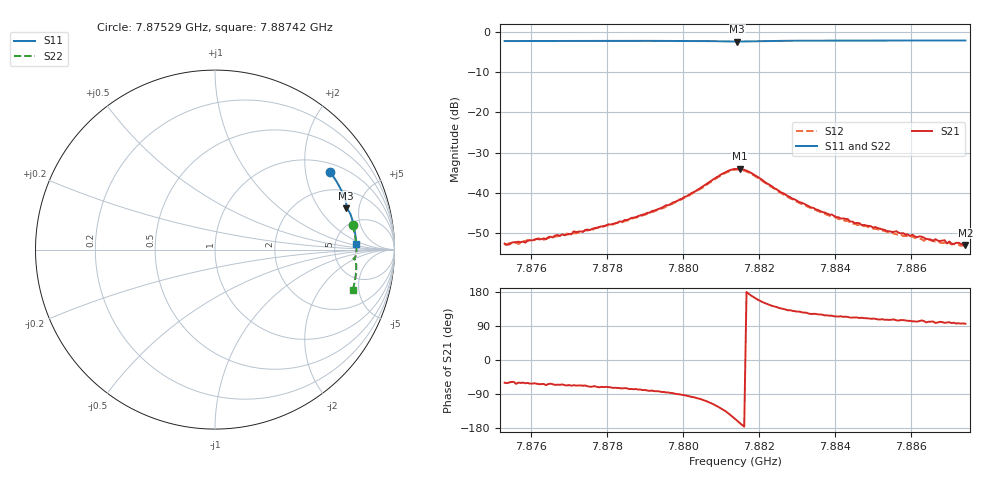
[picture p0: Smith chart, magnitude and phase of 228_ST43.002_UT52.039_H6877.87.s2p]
#  HZ  S  DB  R  50.00
! Rohde & Schwarz Vector Network Analyzer
! Rohde-Schwarz,ZNB20-2Port,1311601062101988,3.16
! Created: UTC 1/12/2023, 6:46:23 PM
! freq[Hz]  db:S11  ang:S11  db:S21  ang:S21  db:S12  ang:S12  db:S22  ang:S22
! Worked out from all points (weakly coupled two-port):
!   201 points, 7.87529 GHz to 7.88742 GHz, reference 50 ohm
!   highest |S21| = -34.02 dB at 7.88148 GHz (marker M1); lowest = -53.0 dB at 7.88742 GHz (marker M2)
!   lowest |S11| = -2.3 dB at 7.88142 GHz (marker M3), VSWR 7.45, Z = 164 + j181 ohm
!   |S11| at or under -10 dB: nowhere
!   |S22| runs from -2.2 to -1.9 dB; largest |S21 - S12| = 0.0012
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7.875293e9  -2.23 33.8  -52.65 -59.8  -53.00 -61.3  -2.16 9.9
7.875839e9  -2.22 32.2  -52.41 -61.4  -51.98 -63.8  -2.14 8.7
7.877052e9  -2.20 29.0  -50.31 -67.8  -50.19 -70.7  -2.11 5.9
7.877113e9  -2.20 28.8  -49.57 -66.4  -50.03 -69.7  -2.11 5.7
7.877355e9  -2.20 28.1  -49.71 -67.9  -49.62 -72.1  -2.10 5.1
7.878386e9  -2.19 25.3  -47.21 -75.0  -47.33 -77.2  -2.08 2.8
7.879357e9  -2.18 22.6  -43.97 -82.5  -44.15 -86.8  -2.07 0.5
7.879963e9  -2.19 20.9  -41.48 -92.0  -41.57 -95.0  -2.08 -1.0
7.880995e9  -2.29 18.1  -35.41 -128.3  -35.65 -130.6  -2.17 -3.5
7.881359e9  -2.34 17.6  -34.04 -155.3  -34.23 -158.2  -2.23 -3.8
7.881419e9  -2.34 17.6  -34.05 -160.5  -34.19 -163.4  -2.23 -3.8
7.88148e9  -2.34 17.6  -34.02 -165.9  -34.21 -168.9  -2.24 -3.8
7.881783e9  -2.29 17.2  -35.04 170.0  -35.21 167.2  -2.18 -3.9
7.882572e9  -2.17 15.2  -39.90 135.9  -40.05 132.9  -2.05 -5.5
7.883421e9  -2.13 12.8  -43.73 121.9  -44.21 118.3  -2.00 -7.6
7.884512e9  -2.11 9.8  -47.55 112.4  -47.70 108.9  -1.98 -10.1
7.885422e9  -2.10 7.5  -49.56 105.7  -50.08 103.1  -1.96 -12.1
7.886575e9  -2.09 4.5  -51.95 101.5  -52.02 96.5  -1.94 -14.6
7.886878e9  -2.09 3.6  -51.82 98.0  -52.43 96.7  -1.94 -15.3
7.886939e9  -2.08 3.5  -52.62 98.9  -52.23 95.2  -1.94 -15.3
7.886999e9  -2.08 3.3  -52.12 99.8  -52.51 94.6  -1.94 -15.5
7.887424e9  -2.08 2.2  -52.97 95.8  -53.28 94.6  -1.94 -16.4
